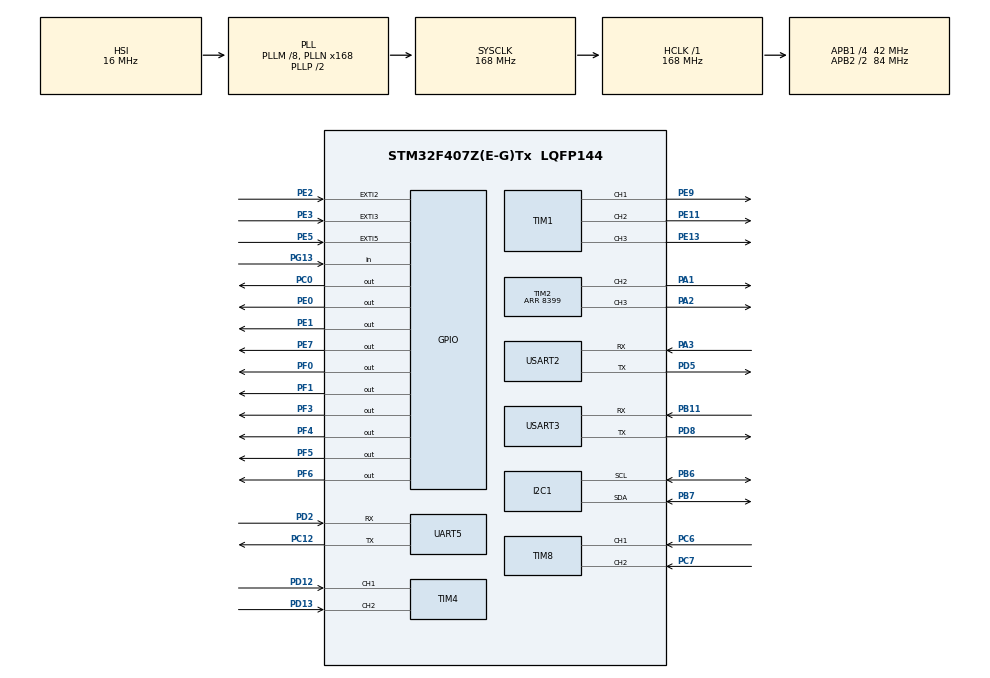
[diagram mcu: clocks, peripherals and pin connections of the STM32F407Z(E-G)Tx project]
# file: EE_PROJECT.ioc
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Mcu.Family=STM32F4
Mcu.Name=STM32F407Z(E-G)Tx
Mcu.Package=LQFP144
NVIC.EXTI2_IRQn=true\:0\:0\:false\:false\:true\:true\:true\:true
NVIC.EXTI3_IRQn=true\:0\:0\:false\:false\:true\:true\:true\:true
NVIC.EXTI9_5_IRQn=true\:0\:0\:false\:false\:true\:true\:true\:true
NVIC.PriorityGroup=NVIC_PRIORITYGROUP_4
NVIC.TIM6_DAC_IRQn=true\:0\:0\:false\:false\:true\:true\:true\:true
NVIC.USART2_IRQn=true\:0\:0\:false\:false\:true\:true\:true\:true
PA1.Signal=S_TIM2_CH2
PA2.Signal=S_TIM2_CH3
PA3.Mode=Asynchronous
PA3.Signal=USART2_RX
PB11.Mode=Asynchronous
PB11.Signal=USART3_RX
PB6.Mode=I2C
PB6.Signal=I2C1_SCL
PB7.Mode=I2C
PB7.Signal=I2C1_SDA
PC0.Signal=GPIO_Output
PC12.Mode=Asynchronous
PC12.Signal=UART5_TX
PC6.Signal=S_TIM8_CH1
PC7.Signal=S_TIM8_CH2
PD12.Signal=S_TIM4_CH1
PD13.Signal=S_TIM4_CH2
PD2.Mode=Asynchronous
PD2.Signal=UART5_RX
PD5.Mode=Asynchronous
PD5.Signal=USART2_TX
PD8.Mode=Asynchronous
PD8.Signal=USART3_TX
PE0.Signal=GPIO_Output
PE1.Signal=GPIO_Output
PE11.Signal=S_TIM1_CH2
PE13.Signal=S_TIM1_CH3
PE2.GPIO_PuPd=GPIO_PULLDOWN
PE2.Signal=GPXTI2
PE3.GPIO_PuPd=GPIO_PULLDOWN
PE3.Signal=GPXTI3
PE5.GPIO_PuPd=GPIO_PULLDOWN
PE5.Signal=GPXTI5
PE7.Signal=GPIO_Output
PE9.Signal=S_TIM1_CH1
PF0.GPIO_ModeDefaultOutputPP=GPIO_MODE_OUTPUT_OD
PF0.GPIO_PuPd=GPIO_NOPULL
PF0.Signal=GPIO_Output
PF1.GPIO_ModeDefaultOutputPP=GPIO_MODE_OUTPUT_OD
PF1.GPIO_PuPd=GPIO_NOPULL
PF1.Signal=GPIO_Output
PF3.Signal=GPIO_Output
PF4.Signal=GPIO_Output
PF5.Signal=GPIO_Output
PF6.Signal=GPIO_Output
PG13.Signal=GPIO_Input
PH0-OSC_IN.Mode=HSE-External-Oscillator
PH0-OSC_IN.Signal=RCC_OSC_IN
PH1-OSC_OUT.Mode=HSE-External-Oscillator
PH1-OSC_OUT.Signal=RCC_OSC_OUT
ProjectManager.HeapSize=0x200
ProjectManager.StackSize=0x400
ProjectManager.TargetToolchain=MDK-ARM V5.32
RCC.48MHZClocksFreq_Value=84000000
RCC.AHBFreq_Value=168000000
RCC.APB1CLKDivider=RCC_HCLK_DIV4
RCC.APB1Freq_Value=42000000
RCC.APB1TimFreq_Value=84000000
RCC.APB2CLKDivider=RCC_HCLK_DIV2
RCC.APB2Freq_Value=84000000
RCC.APB2TimFreq_Value=168000000
RCC.CortexFreq_Value=168000000
RCC.HCLKFreq_Value=168000000
RCC.HSE_VALUE=25000000
RCC.HSI_VALUE=16000000
RCC.LSE_VALUE=32768
RCC.PLLM=8
RCC.PLLN=168
RCC.SYSCLKFreq_VALUE=168000000
RCC.SYSCLKSource=RCC_SYSCLKSOURCE_PLLCLK
RCC.VCOOutputFreq_Value=336000000
SH.S_TIM1_CH1.0=TIM1_CH1,PWM Generation1 CH1
SH.S_TIM1_CH2.0=TIM1_CH2,PWM Generation2 CH2
SH.S_TIM1_CH3.0=TIM1_CH3,PWM Generation3 CH3
SH.S_TIM2_CH2.0=TIM2_CH2,PWM Generation2 CH2
SH.S_TIM2_CH3.0=TIM2_CH3,PWM Generation3 CH3
SH.S_TIM4_CH1.0=TIM4_CH1,Encoder_Interface
SH.S_TIM4_CH2.0=TIM4_CH2,Encoder_Interface
SH.S_TIM8_CH1.0=TIM8_CH1,Encoder_Interface
SH.S_TIM8_CH2.0=TIM8_CH2,Encoder_Interface
TIM1.Channel-PWM\ Generation1\ CH1=TIM_CHANNEL_1
TIM1.Channel-PWM\ Generation2\ CH2=TIM_CHANNEL_2
TIM1.Channel-PWM\ Generation3\ CH3=TIM_CHANNEL_3
TIM2.AutoReloadPreload=TIM_AUTORELOAD_PRELOAD_DISABLE
TIM2.Channel-PWM\ Generation2\ CH2=TIM_CHANNEL_2
TIM2.Channel-PWM\ Generation3\ CH3=TIM_CHANNEL_3
TIM2.OCFastMode_PWM-PWM\ Generation2\ CH2=TIM_OCFAST_DISABLE
TIM2.OCFastMode_PWM-PWM\ Generation3\ CH3=TIM_OCFAST_DISABLE
TIM2.Period=8399
TIM2.Pulse-PWM\ Generation2\ CH2=0
TIM2.Pulse-PWM\ Generation3\ CH3=3000
TIM4.EncoderMode=TIM_ENCODERMODE_TI12
TIM6.AutoReloadPreload=TIM_AUTORELOAD_PRELOAD_ENABLE
TIM6.Period=999
TIM6.Prescaler=839
TIM8.EncoderMode=TIM_ENCODERMODE_TI12
UART5.VirtualMode=Asynchronous
USART2.VirtualMode=VM_ASYNC
USART3.VirtualMode=VM_ASYNC
VP_TIM2_VS_ClockSourceINT.Mode=Internal
VP_TIM6_VS_ClockSourceINT.Mode=Enable_Timer
board=custom

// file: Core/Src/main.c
/* USER CODE BEGIN Header */
/**
  ******************************************************************************
  * @file           : main.c
  * @brief          : Main program body
  ******************************************************************************
  * @attention
  *
  * Copyright (c) 2025 STMicroelectronics.
  * All rights reserved.
  *
  * This software is licensed under terms that can be found in the LICENSE file
  * in the root directory of this software component.
  * If no LICENSE file comes with this software, it is provided AS-IS.
  *
  ******************************************************************************
  */
/* USER CODE END Header */
#include "main.h"

/* USER CODE BEGIN Includes */
#include "oled.h"
#include "IIC.h"
#include "inv_mpu.h"
#include "inv_mpu_dmp_motion_driver.h"
#include "mpu6050.h"
#include "stdio.h"
#include "soft_timer.h"
#include "TB6612.h"
#include "Encoder.h"
#include "car_control.h"
#include "Task_Machine.h"
#include "MV_UART.h"
/* USER CODE END Includes */

I2C_HandleTypeDef hi2c1;

TIM_HandleTypeDef htim1;
TIM_HandleTypeDef htim2;
TIM_HandleTypeDef htim4;
TIM_HandleTypeDef htim6;
TIM_HandleTypeDef htim8;

UART_HandleTypeDef huart5;
UART_HandleTypeDef huart2;
UART_HandleTypeDef huart3;

/* USER CODE BEGIN PV */
//串口通信变量：
uint8_t Openmv_Buff[100] = {0};
uint8_t Openmv_Recv_Data;

float distance_er,angle_er;

/* USER CODE END PV */

void SystemClock_Config(void);
static void MX_GPIO_Init(void);
static void MX_TIM1_Init(void);
static void MX_TIM2_Init(void);
static void MX_TIM4_Init(void);
static void MX_TIM8_Init(void);
static void MX_UART5_Init(void);
static void MX_USART2_UART_Init(void);
static void MX_USART3_UART_Init(void);
static void MX_I2C1_Init(void);
static void MX_TIM6_Init(void);
/* USER CODE BEGIN PFP */
void HAL_GPIO_EXTI_Callback(uint16_t GPIO_Pin)
{
	if(GPIO_Pin == GPIO_PIN_2)
	{
		HAL_GPIO_TogglePin(GPIOF,GPIO_PIN_6);
	}
}
void HAL_UART_RxCpltCallback(UART_HandleTypeDef *huart)
{
	if(huart == &huart2)
	{
		Decode(Openmv_Recv_Data,Recv_Buff);
		HAL_UART_Receive_IT(&huart2,&Openmv_Recv_Data,1);
	}
}
/* USER CODE END PFP */

/* USER CODE BEGIN 0 */
float pitch,roll,yaw;
char display_buff[20];
float M1_SPEED,M1_DISTANCE,M2_SPEED,M2_DISTANCE,ERROR_TREM,I_Out;
float SPEED_GOAL = 1;
float DISTANCE_GOAL = 8;
uint8_t KB1FLAG,KB2FLAG,KB3FLAG;
uint8_t DMP_FLAG,MPU_FLAG;
short Left_Motor_Speed_TEST,Right_Motor_Speed_TEST;

//PID
CarType Medicine_Car;
positional_pid_ctrler PID_M1_SPEED;
positional_pid_ctrler PID_M1_DISTANCE;
/* USER CODE END 0 */

int main(void)
{

  /* MCU Configuration--------------------------------------------------------*/

  /* Reset of all peripherals, Initializes the Flash interface and the Systick. */
  HAL_Init();

  /* Configure the system clock */
  SystemClock_Config();

  /* Initialize all configured peripherals */
  MX_GPIO_Init();
  MX_TIM1_Init();
  MX_TIM2_Init();
  MX_TIM4_Init();
  MX_TIM8_Init();
  MX_UART5_Init();
  MX_USART2_UART_Init();
  MX_USART3_UART_Init();
  MX_I2C1_Init();
  MX_TIM6_Init();
  /* USER CODE BEGIN 2 */
	OLED_Init();
	OLED_Clear();
	OLED_ShowString(0,0,(uint8_t*)"Hello",8);
	MPU_FLAG = MPU_Init();
	DMP_FLAG = mpu_dmp_init();
	sprintf(display_buff,"ERROR:%d,%d",MPU_FLAG,DMP_FLAG);
	OLED_ShowString(0,0,(uint8_t*)display_buff,8);
	Car_Init(&Medicine_Car);
	ERROR_EARSER_INIT();
	T_Data = '1';
	HAL_UART_Receive_IT(&huart2,&Openmv_Recv_Data,1);

  /* USER CODE END 2 */

  /* Infinite loop */
  /* USER CODE BEGIN WHILE */
	uint8_t num0 = 0;
	uint8_t num1 = 0;
	uint8_t num2 = 0;
  float Left_speed_debug;
  float Right_speed_debug;
//
	soft_timer_repeat_init(SOFT_TIMER_0,1000);
	soft_timer_repeat_init(SOFT_TIMER_1,200);
	soft_timer_repeat_init(SOFT_TIMER_2,1000);

  while (1)
  {
		if(soft_timer_is_timeout(SOFT_TIMER_0))
		{
			HAL_GPIO_TogglePin(GPIOF,GPIO_PIN_3);
			HAL_GPIO_TogglePin(GPIOF,GPIO_PIN_4);
			HAL_GPIO_TogglePin(GPIOF,GPIO_PIN_5);
		}
		if(soft_timer_is_timeout(SOFT_TIMER_1))
		{
			M1_DISTANCE = Get_M1_Distance();
			sprintf(display_buff,"S1:%.2fD1:%.2f  ",M1_SPEED,M1_DISTANCE);
			OLED_ShowString(0,1,(uint8_t*)display_buff,8);
			M2_DISTANCE = Get_M2_Distance();
			sprintf(display_buff,"S2:%.2fD2:%.2f  ",M2_SPEED,M2_DISTANCE);
			OLED_ShowString(0,2,(uint8_t*)display_buff,8);
			sprintf(display_buff,"MAIN_TASK:%d  ",Medicine_Car_Task);
			OLED_ShowString(0,3,(uint8_t*)display_buff,8);
			sprintf(display_buff,"STEP_TASK:%d  ",a_temp_step);
			OLED_ShowString(0,4,(uint8_t*)display_buff,8);
			sprintf(display_buff,"dx:%d,dy:%d     ",Recv_Buff[0],Recv_Buff[1]);
			OLED_ShowString(0,5,(uint8_t*)display_buff,8);
			sprintf(display_buff,"RECVOK?%d      ",recv_status);
			OLED_ShowString(0,6,(uint8_t*)display_buff,8);
      sprintf(display_buff,"Cross:%d ", Recv_Buff[2]);
      OLED_ShowString(0,7,(uint8_t*)display_buff,8);
		}
		if(soft_timer_is_timeout(SOFT_TIMER_2))
		{

		}
    /* USER CODE END WHILE */

  }
}

void SystemClock_Config(void)
{
  RCC_OscInitTypeDef RCC_OscInitStruct = {0};
  RCC_ClkInitTypeDef RCC_ClkInitStruct = {0};

  /** Configure the main internal regulator output voltage
  */
  __HAL_RCC_PWR_CLK_ENABLE();
  __HAL_PWR_VOLTAGESCALING_CONFIG(PWR_REGULATOR_VOLTAGE_SCALE1);

  /** Initializes the RCC Oscillators according to the specified parameters
  * in the RCC_OscInitTypeDef structure.
  */
  RCC_OscInitStruct.OscillatorType = RCC_OSCILLATORTYPE_HSI;
  RCC_OscInitStruct.HSIState = RCC_HSI_ON;
  RCC_OscInitStruct.HSICalibrationValue = RCC_HSICALIBRATION_DEFAULT;
  RCC_OscInitStruct.PLL.PLLState = RCC_PLL_ON;
  RCC_OscInitStruct.PLL.PLLSource = RCC_PLLSOURCE_HSI;
  RCC_OscInitStruct.PLL.PLLM = 8;
  RCC_OscInitStruct.PLL.PLLN = 168;
  RCC_OscInitStruct.PLL.PLLP = RCC_PLLP_DIV2;
  RCC_OscInitStruct.PLL.PLLQ = 4;
  if (HAL_RCC_OscConfig(&RCC_OscInitStruct) != HAL_OK)
  {
    Error_Handler();
  }

  /** Initializes the CPU, AHB and APB buses clocks
  */
  RCC_ClkInitStruct.ClockType = RCC_CLOCKTYPE_HCLK|RCC_CLOCKTYPE_SYSCLK
                              |RCC_CLOCKTYPE_PCLK1|RCC_CLOCKTYPE_PCLK2;
  RCC_ClkInitStruct.SYSCLKSource = RCC_SYSCLKSOURCE_PLLCLK;
  RCC_ClkInitStruct.AHBCLKDivider = RCC_SYSCLK_DIV1;
  RCC_ClkInitStruct.APB1CLKDivider = RCC_HCLK_DIV4;
  RCC_ClkInitStruct.APB2CLKDivider = RCC_HCLK_DIV2;

  if (HAL_RCC_ClockConfig(&RCC_ClkInitStruct, FLASH_LATENCY_5) != HAL_OK)
  {
    Error_Handler();
  }
}

static void MX_I2C1_Init(void)
{

  hi2c1.Instance = I2C1;
  hi2c1.Init.ClockSpeed = 100000;
  hi2c1.Init.DutyCycle = I2C_DUTYCYCLE_2;
  hi2c1.Init.OwnAddress1 = 0;
  hi2c1.Init.AddressingMode = I2C_ADDRESSINGMODE_7BIT;
  hi2c1.Init.DualAddressMode = I2C_DUALADDRESS_DISABLE;
  hi2c1.Init.OwnAddress2 = 0;
  hi2c1.Init.GeneralCallMode = I2C_GENERALCALL_DISABLE;
  hi2c1.Init.NoStretchMode = I2C_NOSTRETCH_DISABLE;
  if (HAL_I2C_Init(&hi2c1) != HAL_OK)
  {
    Error_Handler();
  }

}

static void MX_TIM1_Init(void)
{

  TIM_MasterConfigTypeDef sMasterConfig = {0};
  TIM_OC_InitTypeDef sConfigOC = {0};
  TIM_BreakDeadTimeConfigTypeDef sBreakDeadTimeConfig = {0};

  htim1.Instance = TIM1;
  htim1.Init.Prescaler = 0;
  htim1.Init.CounterMode = TIM_COUNTERMODE_UP;
  htim1.Init.Period = 65535;
  htim1.Init.ClockDivision = TIM_CLOCKDIVISION_DIV1;
  htim1.Init.RepetitionCounter = 0;
  htim1.Init.AutoReloadPreload = TIM_AUTORELOAD_PRELOAD_DISABLE;
  if (HAL_TIM_PWM_Init(&htim1) != HAL_OK)
  {
    Error_Handler();
  }
  sMasterConfig.MasterOutputTrigger = TIM_TRGO_RESET;
  sMasterConfig.MasterSlaveMode = TIM_MASTERSLAVEMODE_DISABLE;
  if (HAL_TIMEx_MasterConfigSynchronization(&htim1, &sMasterConfig) != HAL_OK)
  {
    Error_Handler();
  }
  sConfigOC.OCMode = TIM_OCMODE_PWM1;
  sConfigOC.Pulse = 0;
  sConfigOC.OCPolarity = TIM_OCPOLARITY_HIGH;
  sConfigOC.OCNPolarity = TIM_OCNPOLARITY_HIGH;
  sConfigOC.OCFastMode = TIM_OCFAST_DISABLE;
  sConfigOC.OCIdleState = TIM_OCIDLESTATE_RESET;
  sConfigOC.OCNIdleState = TIM_OCNIDLESTATE_RESET;
  if (HAL_TIM_PWM_ConfigChannel(&htim1, &sConfigOC, TIM_CHANNEL_1) != HAL_OK)
  {
    Error_Handler();
  }
  if (HAL_TIM_PWM_ConfigChannel(&htim1, &sConfigOC, TIM_CHANNEL_2) != HAL_OK)
  {
    Error_Handler();
  }
  if (HAL_TIM_PWM_ConfigChannel(&htim1, &sConfigOC, TIM_CHANNEL_3) != HAL_OK)
  {
    Error_Handler();
  }
  sBreakDeadTimeConfig.OffStateRunMode = TIM_OSSR_DISABLE;
  sBreakDeadTimeConfig.OffStateIDLEMode = TIM_OSSI_DISABLE;
  sBreakDeadTimeConfig.LockLevel = TIM_LOCKLEVEL_OFF;
  sBreakDeadTimeConfig.DeadTime = 0;
  sBreakDeadTimeConfig.BreakState = TIM_BREAK_DISABLE;
  sBreakDeadTimeConfig.BreakPolarity = TIM_BREAKPOLARITY_HIGH;
  sBreakDeadTimeConfig.AutomaticOutput = TIM_AUTOMATICOUTPUT_DISABLE;
  if (HAL_TIMEx_ConfigBreakDeadTime(&htim1, &sBreakDeadTimeConfig) != HAL_OK)
  {
    Error_Handler();
  }
  HAL_TIM_MspPostInit(&htim1);

}

static void MX_TIM2_Init(void)
{

  TIM_ClockConfigTypeDef sClockSourceConfig = {0};
  TIM_MasterConfigTypeDef sMasterConfig = {0};
  TIM_OC_InitTypeDef sConfigOC = {0};

  htim2.Instance = TIM2;
  htim2.Init.Prescaler = 0;
  htim2.Init.CounterMode = TIM_COUNTERMODE_UP;
  htim2.Init.Period = 8399;
  htim2.Init.ClockDivision = TIM_CLOCKDIVISION_DIV1;
  htim2.Init.AutoReloadPreload = TIM_AUTORELOAD_PRELOAD_DISABLE;
  if (HAL_TIM_Base_Init(&htim2) != HAL_OK)
  {
    Error_Handler();
  }
  sClockSourceConfig.ClockSource = TIM_CLOCKSOURCE_INTERNAL;
  if (HAL_TIM_ConfigClockSource(&htim2, &sClockSourceConfig) != HAL_OK)
  {
    Error_Handler();
  }
  if (HAL_TIM_PWM_Init(&htim2) != HAL_OK)
  {
    Error_Handler();
  }
  sMasterConfig.MasterOutputTrigger = TIM_TRGO_RESET;
  sMasterConfig.MasterSlaveMode = TIM_MASTERSLAVEMODE_DISABLE;
  if (HAL_TIMEx_MasterConfigSynchronization(&htim2, &sMasterConfig) != HAL_OK)
  {
    Error_Handler();
  }
  sConfigOC.OCMode = TIM_OCMODE_PWM1;
  sConfigOC.Pulse = 0;
  sConfigOC.OCPolarity = TIM_OCPOLARITY_HIGH;
  sConfigOC.OCFastMode = TIM_OCFAST_DISABLE;
  if (HAL_TIM_PWM_ConfigChannel(&htim2, &sConfigOC, TIM_CHANNEL_2) != HAL_OK)
  {
    Error_Handler();
  }
  sConfigOC.Pulse = 3000;
  if (HAL_TIM_PWM_ConfigChannel(&htim2, &sConfigOC, TIM_CHANNEL_3) != HAL_OK)
  {
    Error_Handler();
  }
  HAL_TIM_MspPostInit(&htim2);

}

static void MX_TIM4_Init(void)
{

  TIM_Encoder_InitTypeDef sConfig = {0};
  TIM_MasterConfigTypeDef sMasterConfig = {0};

  htim4.Instance = TIM4;
  htim4.Init.Prescaler = 0;
  htim4.Init.CounterMode = TIM_COUNTERMODE_UP;
  htim4.Init.Period = 65535;
  htim4.Init.ClockDivision = TIM_CLOCKDIVISION_DIV1;
  htim4.Init.AutoReloadPreload = TIM_AUTORELOAD_PRELOAD_DISABLE;
  sConfig.EncoderMode = TIM_ENCODERMODE_TI12;
  sConfig.IC1Polarity = TIM_ICPOLARITY_RISING;
  sConfig.IC1Selection = TIM_ICSELECTION_DIRECTTI;
  sConfig.IC1Prescaler = TIM_ICPSC_DIV1;
  sConfig.IC1Filter = 0;
  sConfig.IC2Polarity = TIM_ICPOLARITY_RISING;
  sConfig.IC2Selection = TIM_ICSELECTION_DIRECTTI;
  sConfig.IC2Prescaler = TIM_ICPSC_DIV1;
  sConfig.IC2Filter = 0;
  if (HAL_TIM_Encoder_Init(&htim4, &sConfig) != HAL_OK)
  {
    Error_Handler();
  }
  sMasterConfig.MasterOutputTrigger = TIM_TRGO_RESET;
  sMasterConfig.MasterSlaveMode = TIM_MASTERSLAVEMODE_DISABLE;
  if (HAL_TIMEx_MasterConfigSynchronization(&htim4, &sMasterConfig) != HAL_OK)
  {
    Error_Handler();
  }

}

static void MX_TIM6_Init(void)
{

  TIM_MasterConfigTypeDef sMasterConfig = {0};

  htim6.Instance = TIM6;
  htim6.Init.Prescaler = 839;
  htim6.Init.CounterMode = TIM_COUNTERMODE_UP;
  htim6.Init.Period = 999;
  htim6.Init.AutoReloadPreload = TIM_AUTORELOAD_PRELOAD_ENABLE;
  if (HAL_TIM_Base_Init(&htim6) != HAL_OK)
  {
    Error_Handler();
  }
  sMasterConfig.MasterOutputTrigger = TIM_TRGO_RESET;
  sMasterConfig.MasterSlaveMode = TIM_MASTERSLAVEMODE_DISABLE;
  if (HAL_TIMEx_MasterConfigSynchronization(&htim6, &sMasterConfig) != HAL_OK)
  {
    Error_Handler();
  }

}

static void MX_TIM8_Init(void)
{

  TIM_Encoder_InitTypeDef sConfig = {0};
  TIM_MasterConfigTypeDef sMasterConfig = {0};

  htim8.Instance = TIM8;
  htim8.Init.Prescaler = 0;
  htim8.Init.CounterMode = TIM_COUNTERMODE_UP;
  htim8.Init.Period = 65535;
  htim8.Init.ClockDivision = TIM_CLOCKDIVISION_DIV1;
  htim8.Init.RepetitionCounter = 0;
  htim8.Init.AutoReloadPreload = TIM_AUTORELOAD_PRELOAD_DISABLE;
  sConfig.EncoderMode = TIM_ENCODERMODE_TI12;
  sConfig.IC1Polarity = TIM_ICPOLARITY_RISING;
  sConfig.IC1Selection = TIM_ICSELECTION_DIRECTTI;
  sConfig.IC1Prescaler = TIM_ICPSC_DIV1;
  sConfig.IC1Filter = 0;
  sConfig.IC2Polarity = TIM_ICPOLARITY_RISING;
  sConfig.IC2Selection = TIM_ICSELECTION_DIRECTTI;
  sConfig.IC2Prescaler = TIM_ICPSC_DIV1;
  sConfig.IC2Filter = 0;
  if (HAL_TIM_Encoder_Init(&htim8, &sConfig) != HAL_OK)
  {
    Error_Handler();
  }
  sMasterConfig.MasterOutputTrigger = TIM_TRGO_RESET;
  sMasterConfig.MasterSlaveMode = TIM_MASTERSLAVEMODE_DISABLE;
  if (HAL_TIMEx_MasterConfigSynchronization(&htim8, &sMasterConfig) != HAL_OK)
  {
    Error_Handler();
  }

}

static void MX_UART5_Init(void)
{

  huart5.Instance = UART5;
  huart5.Init.BaudRate = 115200;
  huart5.Init.WordLength = UART_WORDLENGTH_8B;
  huart5.Init.StopBits = UART_STOPBITS_1;
  huart5.Init.Parity = UART_PARITY_NONE;
  huart5.Init.Mode = UART_MODE_TX_RX;
  huart5.Init.HwFlowCtl = UART_HWCONTROL_NONE;
  huart5.Init.OverSampling = UART_OVERSAMPLING_16;
  if (HAL_UART_Init(&huart5) != HAL_OK)
  {
    Error_Handler();
  }

}

static void MX_USART2_UART_Init(void)
{

  huart2.Instance = USART2;
  huart2.Init.BaudRate = 115200;
  huart2.Init.WordLength = UART_WORDLENGTH_8B;
  huart2.Init.StopBits = UART_STOPBITS_1;
  huart2.Init.Parity = UART_PARITY_NONE;
  huart2.Init.Mode = UART_MODE_TX_RX;
  huart2.Init.HwFlowCtl = UART_HWCONTROL_NONE;
  huart2.Init.OverSampling = UART_OVERSAMPLING_16;
  if (HAL_UART_Init(&huart2) != HAL_OK)
  {
    Error_Handler();
  }

}

static void MX_USART3_UART_Init(void)
{

  huart3.Instance = USART3;
  huart3.Init.BaudRate = 115200;
  huart3.Init.WordLength = UART_WORDLENGTH_8B;
  huart3.Init.StopBits = UART_STOPBITS_1;
  huart3.Init.Parity = UART_PARITY_NONE;
  huart3.Init.Mode = UART_MODE_TX_RX;
  huart3.Init.HwFlowCtl = UART_HWCONTROL_NONE;
  huart3.Init.OverSampling = UART_OVERSAMPLING_16;
  if (HAL_UART_Init(&huart3) != HAL_OK)
  {
    Error_Handler();
  }

}

static void MX_GPIO_Init(void)
{
  GPIO_InitTypeDef GPIO_InitStruct = {0};

  /* GPIO Ports Clock Enable */
  __HAL_RCC_GPIOE_CLK_ENABLE();
  __HAL_RCC_GPIOF_CLK_ENABLE();
  __HAL_RCC_GPIOH_CLK_ENABLE();
  __HAL_RCC_GPIOC_CLK_ENABLE();
  __HAL_RCC_GPIOA_CLK_ENABLE();
  __HAL_RCC_GPIOB_CLK_ENABLE();
  __HAL_RCC_GPIOD_CLK_ENABLE();
  __HAL_RCC_GPIOG_CLK_ENABLE();

  /*Configure GPIO pin Output Level */
  HAL_GPIO_WritePin(GPIOF, GPIO_PIN_0|GPIO_PIN_1|GPIO_PIN_3|GPIO_PIN_4
                          |GPIO_PIN_5|GPIO_PIN_6, GPIO_PIN_RESET);

  /*Configure GPIO pin Output Level */
  HAL_GPIO_WritePin(GPIOC, GPIO_PIN_0, GPIO_PIN_RESET);

  /*Configure GPIO pin Output Level */
  HAL_GPIO_WritePin(GPIOE, GPIO_PIN_7|GPIO_PIN_0|GPIO_PIN_1, GPIO_PIN_RESET);

  /*Configure GPIO pins : PE2 PE3 PE5 */
  GPIO_InitStruct.Pin = GPIO_PIN_2|GPIO_PIN_3|GPIO_PIN_5;
  GPIO_InitStruct.Mode = GPIO_MODE_IT_RISING;
  GPIO_InitStruct.Pull = GPIO_PULLDOWN;
  HAL_GPIO_Init(GPIOE, &GPIO_InitStruct);

  /*Configure GPIO pins : PF0 PF1 */
  GPIO_InitStruct.Pin = GPIO_PIN_0|GPIO_PIN_1;
  GPIO_InitStruct.Mode = GPIO_MODE_OUTPUT_OD;
  GPIO_InitStruct.Pull = GPIO_NOPULL;
  GPIO_InitStruct.Speed = GPIO_SPEED_FREQ_LOW;
  HAL_GPIO_Init(GPIOF, &GPIO_InitStruct);

  /*Configure GPIO pins : PF3 PF4 PF5 PF6 */
  GPIO_InitStruct.Pin = GPIO_PIN_3|GPIO_PIN_4|GPIO_PIN_5|GPIO_PIN_6;
  GPIO_InitStruct.Mode = GPIO_MODE_OUTPUT_PP;
  GPIO_InitStruct.Pull = GPIO_NOPULL;
  GPIO_InitStruct.Speed = GPIO_SPEED_FREQ_LOW;
  HAL_GPIO_Init(GPIOF, &GPIO_InitStruct);

  /*Configure GPIO pin : PC0 */
  GPIO_InitStruct.Pin = GPIO_PIN_0;
  GPIO_InitStruct.Mode = GPIO_MODE_OUTPUT_PP;
  GPIO_InitStruct.Pull = GPIO_NOPULL;
  GPIO_InitStruct.Speed = GPIO_SPEED_FREQ_LOW;
  HAL_GPIO_Init(GPIOC, &GPIO_InitStruct);

  /*Configure GPIO pins : PE7 PE0 PE1 */
  GPIO_InitStruct.Pin = GPIO_PIN_7|GPIO_PIN_0|GPIO_PIN_1;
  GPIO_InitStruct.Mode = GPIO_MODE_OUTPUT_PP;
  GPIO_InitStruct.Pull = GPIO_NOPULL;
  GPIO_InitStruct.Speed = GPIO_SPEED_FREQ_LOW;
  HAL_GPIO_Init(GPIOE, &GPIO_InitStruct);

  /*Configure GPIO pin : PG13 */
  GPIO_InitStruct.Pin = GPIO_PIN_13;
  GPIO_InitStruct.Mode = GPIO_MODE_INPUT;
  GPIO_InitStruct.Pull = GPIO_NOPULL;
  HAL_GPIO_Init(GPIOG, &GPIO_InitStruct);

  /* EXTI interrupt init*/
  HAL_NVIC_SetPriority(EXTI2_IRQn, 0, 0);
  HAL_NVIC_EnableIRQ(EXTI2_IRQn);

  HAL_NVIC_SetPriority(EXTI3_IRQn, 0, 0);
  HAL_NVIC_EnableIRQ(EXTI3_IRQn);

  HAL_NVIC_SetPriority(EXTI9_5_IRQn, 0, 0);
  HAL_NVIC_EnableIRQ(EXTI9_5_IRQn);

}

void Error_Handler(void)
{
  __disable_irq();
  while (1)
  {
  }
}
